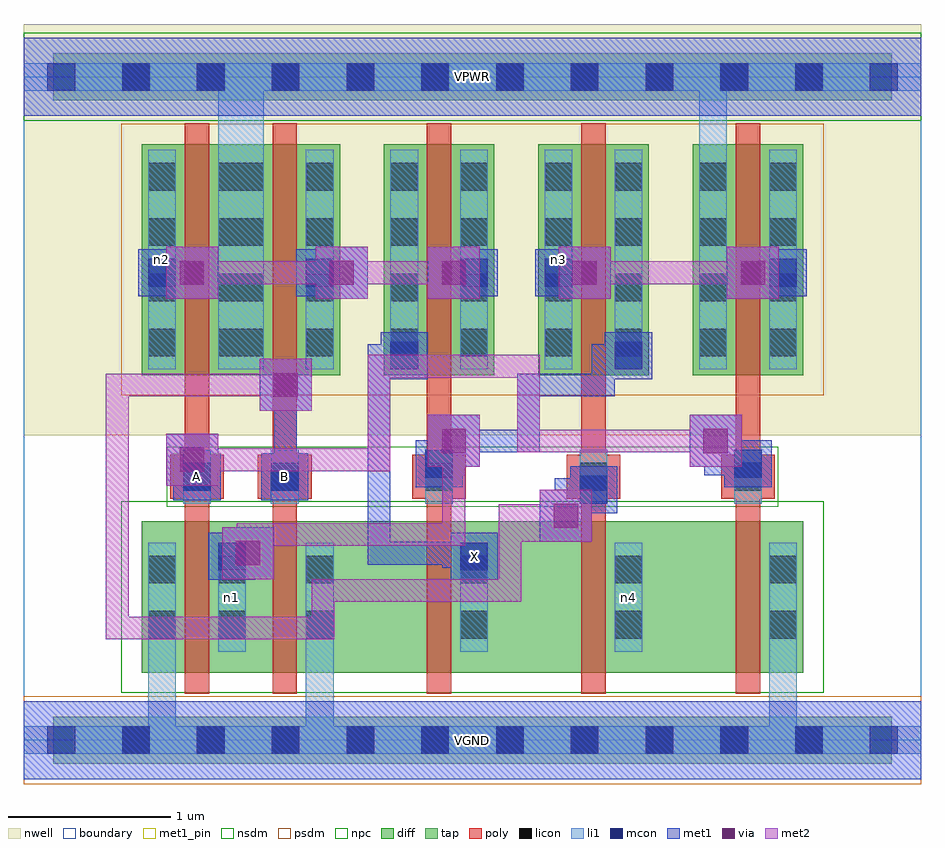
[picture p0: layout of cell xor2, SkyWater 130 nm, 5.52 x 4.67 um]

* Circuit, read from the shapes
.subckt xor2 A B VGND VPWR X n1 n2 n3 n4
XM1 n1 A VGND VGND sky130_fd_pr__nfet_01v8 w=0.93 l=0.15
XM2 VGND B n1 VGND sky130_fd_pr__nfet_01v8 w=0.93 l=0.15
XM3 X n1 VGND VGND sky130_fd_pr__nfet_01v8 w=0.93 l=0.15
XM4 n4 B X VGND sky130_fd_pr__nfet_01v8 w=0.93 l=0.15
XM5 VGND A n4 VGND sky130_fd_pr__nfet_01v8 w=0.93 l=0.15
XM6 VPWR A n2 VPWR sky130_fd_pr__pfet_01v8 w=1.42 l=0.15
XM7 n2 B VPWR VPWR sky130_fd_pr__pfet_01v8 w=1.42 l=0.15
XM8 n2 n1 X VPWR sky130_fd_pr__pfet_01v8 w=1.42 l=0.15
XM9 n1 B n3 VPWR sky130_fd_pr__pfet_01v8 w=1.42 l=0.15
XM10 n3 A VPWR VPWR sky130_fd_pr__pfet_01v8 w=1.42 l=0.15
.ends

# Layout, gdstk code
import gdstk
lib = gdstk.Library(unit=1e-6, precision=1e-09)
def R(c, l, rs):  # rectangles x0, y0, x1, y1
    for r in rs: c.add(gdstk.rectangle(r[:2], r[2:], *l))
def A(c, l, x, y, w, h, nx, ny, dx, dy):  # array of equal rectangles
    R(c, l, [(x+i*dx, y+j*dy, x+i*dx+w, y+j*dy+h) for i in range(nx) for j in range(ny)])
nwell = (64, 20)
diff = (65, 20)
tap = (65, 44)
poly = (66, 20)
licon = (66, 44)
li1 = (67, 20)
mcon = (67, 44)
met1_pin = (68, 16)
met1 = (68, 20)
via = (68, 44)
met2 = (69, 20)
nsdm = (93, 44)
psdm = (94, 20)
npc = (95, 20)
boundary = (235, 4)

xor2 = lib.new_cell('xor2')
R(xor2, nwell, [(0,1.875,5.52,4.405)])
A(xor2, diff, 1.265, 2.245, 0.68, 1.42, 4, 1, 0.95, 0)
R(xor2, diff, [(0.725,0.415,4.795,1.345), (0.725,2.245,1.405,3.665)])
R(xor2, tap, [(0.18,-0.145,5.34,0.145), (0.18,3.935,5.34,4.225)])
A(xor2, poly, 1.53, 0.285, 0.15, 3.51, 4, 1, 0.95, 0)
A(xor2, poly, 1.44, 1.485, 0.33, 0.27, 4, 1, 0.95, 0)
R(xor2, poly, [(0.99,0.285,1.14,3.795), (0.9,1.485,1.23,1.755)])
A(xor2, licon, 0.605, -0.085, 0.17, 0.17, 10, 2, 0.46, 4.08)
A(xor2, licon, 1.735, 0.625, 0.17, 0.17, 4, 2, 0.95, 0.34)
A(xor2, licon, 1.52, 1.535, 0.17, 0.17, 4, 1, 0.95, 0)
A(xor2, licon, 0.765, 2.36, 0.17, 0.17, 1, 4, 0, 0.34)
A(xor2, licon, 1.195, 2.36, 0.17, 0.17, 1, 4, 0, 0.34)
A(xor2, licon, 1.305, 2.36, 0.17, 0.17, 1, 4, 0, 0.34)
A(xor2, licon, 1.735, 2.36, 0.17, 0.17, 1, 4, 0, 0.34)
A(xor2, licon, 2.255, 2.36, 0.17, 0.17, 1, 4, 0, 0.34)
A(xor2, licon, 2.685, 2.36, 0.17, 0.17, 1, 4, 0, 0.34)
A(xor2, licon, 3.205, 2.36, 0.17, 0.17, 1, 4, 0, 0.34)
A(xor2, licon, 3.635, 2.36, 0.17, 0.17, 1, 4, 0, 0.34)
A(xor2, licon, 4.155, 2.36, 0.17, 0.17, 1, 4, 0, 0.34)
A(xor2, licon, 4.585, 2.36, 0.17, 0.17, 1, 4, 0, 0.34)
R(xor2, licon, [(0.765,0.625,0.935,0.795), (1.195,0.625,1.365,0.795), (0.765,0.965,0.935,1.135), (1.195,0.965,1.365,1.135), (0.98,1.535,1.15,1.705)])
A(xor2, li1, 1.735, 0.545, 0.17, 0.67, 4, 1, 0.95, 0)
A(xor2, li1, 1.52, 1.455, 0.17, 0.33, 4, 1, 0.95, 0)
R(xor2, li1, [(0,-0.085,5.52,0.085), (0.765,-0.085,0.935,1.215), (1.735,-0.085,1.905,1.215), (4.585,-0.085,4.755,1.215), (0.765,0.545,0.935,1.215), (1.195,0.545,1.365,1.215), (0.98,1.455,1.15,1.785), (0.765,2.28,0.935,3.63), (1.195,2.28,1.365,3.63), (1.195,2.28,1.365,4.165), (1.305,2.28,1.475,3.63), (1.305,2.28,1.475,4.165), (1.735,2.28,1.905,3.63), (2.255,2.28,2.425,3.63), (2.685,2.28,2.855,3.63), (3.205,2.28,3.375,3.63), (3.635,2.28,3.805,3.63), (4.155,2.28,4.325,3.63), (4.155,2.28,4.325,4.165), (4.585,2.28,4.755,3.63), (0,3.995,5.52,4.165)])
A(xor2, mcon, 0.145, -0.085, 0.17, 0.17, 12, 2, 0.46, 4.08)
R(xor2, mcon, [(1.195,1.045,1.365,1.215), (2.685,1.045,2.855,1.215), (3.42,1.455,3.59,1.625), (0.98,1.535,1.15,1.705), (1.52,1.535,1.69,1.705), (2.47,1.615,2.64,1.785), (4.37,1.615,4.54,1.785), (2.255,2.28,2.425,2.45), (3.635,2.28,3.805,2.45), (0.765,2.79,0.935,2.96), (1.735,2.79,1.905,2.96), (2.685,2.79,2.855,2.96), (3.205,2.79,3.375,2.96), (4.585,2.79,4.755,2.96)])
R(xor2, met1_pin, [(0,-0.24,5.52,0.24), (2.625,0.985,2.915,1.275), (0.92,1.475,1.21,1.765), (1.46,1.475,1.75,1.765), (0,3.84,5.52,4.32)])
R(xor2, met1, [(0,-0.24,5.52,0.24), (1.135,0.985,1.425,1.275), (2.625,0.985,2.915,1.275), (1.22,0.99,1.54,1.31), (1.21,1.06,1.45,1.2), (1.31,1.06,1.45,1.22), (2.575,1.06,2.84,1.2), (2.575,1.06,2.715,1.22), (2.115,1.08,2.715,1.22), (2.115,1.08,2.255,2.255), (3.175,1.22,3.495,1.54), (3.265,1.31,3.405,1.61), (3.36,1.395,3.65,1.685), (3.265,1.47,3.575,1.61), (0.92,1.475,1.21,1.765), (1.46,1.475,1.75,1.765), (0.965,1.54,1.105,1.68), (0.965,1.54,1.105,1.795), (1.54,1.54,1.68,1.68), (1.54,1.54,1.68,2.255), (2.41,1.555,2.7,1.845), (4.31,1.555,4.6,1.845), (0.875,1.565,1.195,1.885), (2.485,1.63,2.715,1.77), (2.575,1.63,2.715,1.91), (4.185,1.63,4.325,1.91), (4.185,1.63,4.525,1.77), (2.485,1.68,2.805,2), (4.095,1.68,4.415,2), (2.575,1.77,3.175,1.91), (3.035,1.77,3.175,2.255), (1.45,2.025,1.77,2.345), (2.115,2.115,2.255,2.435), (3.035,2.115,3.635,2.255), (3.495,2.115,3.635,2.435), (2.195,2.22,2.485,2.51), (3.575,2.22,3.865,2.51), (2.115,2.295,2.41,2.435), (3.495,2.295,3.79,2.435), (0.875,2.715,1.195,3.035), (1.795,2.715,2.115,3.035), (2.485,2.715,2.805,3.035), (3.29,2.715,3.61,3.035), (4.325,2.715,4.645,3.035), (0.705,2.73,0.995,3.02), (1.675,2.73,1.965,3.02), (2.625,2.73,2.915,3.02), (3.145,2.73,3.435,3.02), (4.525,2.73,4.815,3.02), (0.78,2.805,1.105,2.945), (1.75,2.805,2.025,2.945), (2.575,2.805,2.84,2.945), (3.22,2.805,3.52,2.945), (4.415,2.805,4.74,2.945), (0,3.84,5.52,4.32)])
R(xor2, via, [(1.305,1.075,1.455,1.225), (3.26,1.305,3.41,1.455), (0.96,1.65,1.11,1.8), (2.57,1.765,2.72,1.915), (4.18,1.765,4.33,1.915), (1.535,2.11,1.685,2.26), (0.96,2.8,1.11,2.95), (1.88,2.8,2.03,2.95), (2.57,2.8,2.72,2.95), (3.375,2.8,3.525,2.95), (4.41,2.8,4.56,2.95)])
R(xor2, met2, [(0.505,0.62,1.91,0.76), (0.505,0.62,0.645,2.255), (1.77,0.62,1.91,0.99), (1.77,0.85,3.06,0.99), (2.92,0.85,3.06,1.45), (1.22,0.99,1.54,1.31), (1.31,1.08,1.45,1.335), (1.31,1.195,2.715,1.335), (2.575,1.195,2.715,1.91), (3.06,1.22,3.175,1.45), (3.175,1.22,3.495,1.54), (2.92,1.31,3.405,1.45), (0.875,1.565,1.195,1.885), (0.965,1.655,2.255,1.795), (2.115,1.655,2.255,2.37), (2.485,1.68,2.805,2), (4.095,1.68,4.415,2), (3.035,1.77,4.325,1.91), (3.035,1.77,3.175,2.37), (1.45,2.025,1.77,2.345), (0.505,2.115,1.68,2.255), (2.115,2.23,3.175,2.37), (0.875,2.715,1.195,3.035), (1.795,2.715,2.115,3.035), (2.485,2.715,2.805,3.035), (3.29,2.715,3.61,3.035), (4.325,2.715,4.645,3.035), (0.965,2.805,2.025,2.945), (1.885,2.805,2.715,2.945), (3.38,2.805,4.555,2.945)])
R(xor2, nsdm, [(0.6,0.29,4.92,1.47), (0,3.81,5.52,4.35)])
R(xor2, psdm, [(0,-0.27,5.52,0.27), (0.6,2.12,4.92,3.79)])
R(xor2, npc, [(0.88,1.435,4.64,1.805)])
R(xor2, boundary, [(0,0,5.52,4.08)])
xor2.add(gdstk.Label('n1', (1.28,0.88), layer=67, texttype=5))
xor2.add(gdstk.Label('n4', (3.72,0.88), layer=67, texttype=5))
xor2.add(gdstk.Label('n2', (0.85,2.955), layer=67, texttype=5))
xor2.add(gdstk.Label('n3', (3.29,2.955), layer=67, texttype=5))
xor2.add(gdstk.Label('A', (1.065,1.62), layer=68, texttype=5))
xor2.add(gdstk.Label('B', (1.605,1.62), layer=68, texttype=5))
xor2.add(gdstk.Label('X', (2.77,1.13), layer=68, texttype=5))
xor2.add(gdstk.Label('VPWR', (2.76,4.08), layer=68, texttype=5))
xor2.add(gdstk.Label('VGND', (2.76,0), layer=68, texttype=5))
xor2.add(gdstk.Label('A', (1.065,1.62), layer=68, texttype=16))
xor2.add(gdstk.Label('B', (1.605,1.62), layer=68, texttype=16))
xor2.add(gdstk.Label('X', (2.77,1.13), layer=68, texttype=16))
xor2.add(gdstk.Label('VPWR', (2.76,4.08), layer=68, texttype=16))
xor2.add(gdstk.Label('VGND', (2.76,0), layer=68, texttype=16))

lib.write_gds('xor2.gds')
